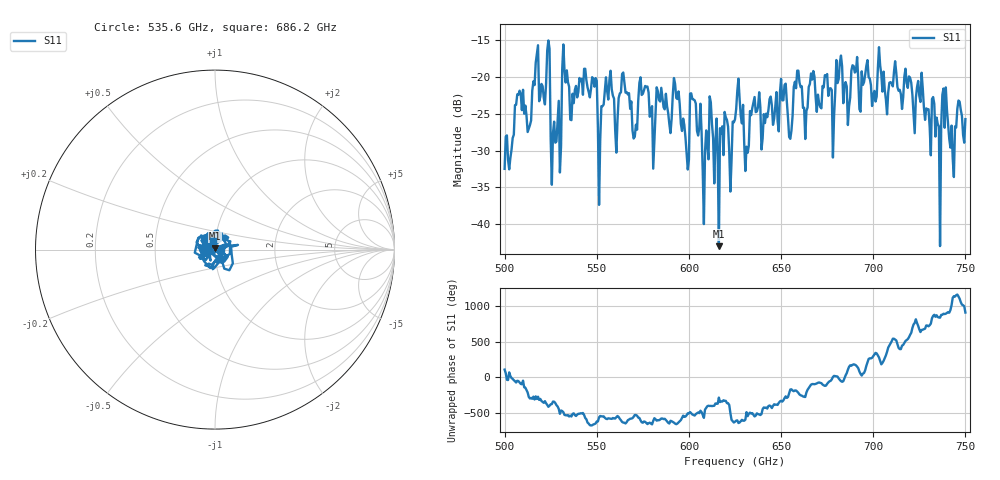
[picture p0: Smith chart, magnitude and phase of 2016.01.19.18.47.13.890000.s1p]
!Created with skrf (http://scikit-rf.org).
# GHz S RI R 50.0
!freq ReS11 ImS11
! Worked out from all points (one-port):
!   401 points, 500 GHz to 750 GHz, reference 50 ohm
!   lowest |S11| = -43.0 dB at 616.2 GHz (marker M1), VSWR 1.01, Z = 50.2 + j0.679 ohm
!   |S11| at or under -10 dB: start of sweep to end of sweep
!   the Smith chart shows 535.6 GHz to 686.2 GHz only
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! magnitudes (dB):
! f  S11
! 500 GHz  -32.5
! 507.5 GHz  -22.4
! 513.1 GHz  -27.0
! 516.9 GHz  -18.1
! 523.1 GHz  -16.4
! 526.2 GHz  -27.6
! 531.2 GHz  -18.9
! 548.8 GHz  -21.3
! 551.9 GHz  -28.5
! 562.5 GHz  -22.2
! 570.6 GHz  -28.1
! 574.4 GHz  -22.4
! 593.8 GHz  -23.0
! 598.8 GHz  -30.5
! 601.9 GHz  -23.0
! 608.8 GHz  -30.1
! 611.9 GHz  -23.4
! 616.2 GHz  -43.0
! 625 GHz  -25.8
! 631.2 GHz  -29.5
! 634.4 GHz  -24.2
! 656.2 GHz  -25.3
! 687.5 GHz  -22.8
! 718.8 GHz  -21.5
! 735 GHz  -26.4
! 738.8 GHz  -26.9
! 742.5 GHz  -26.6
! 750 GHz  -25.7
